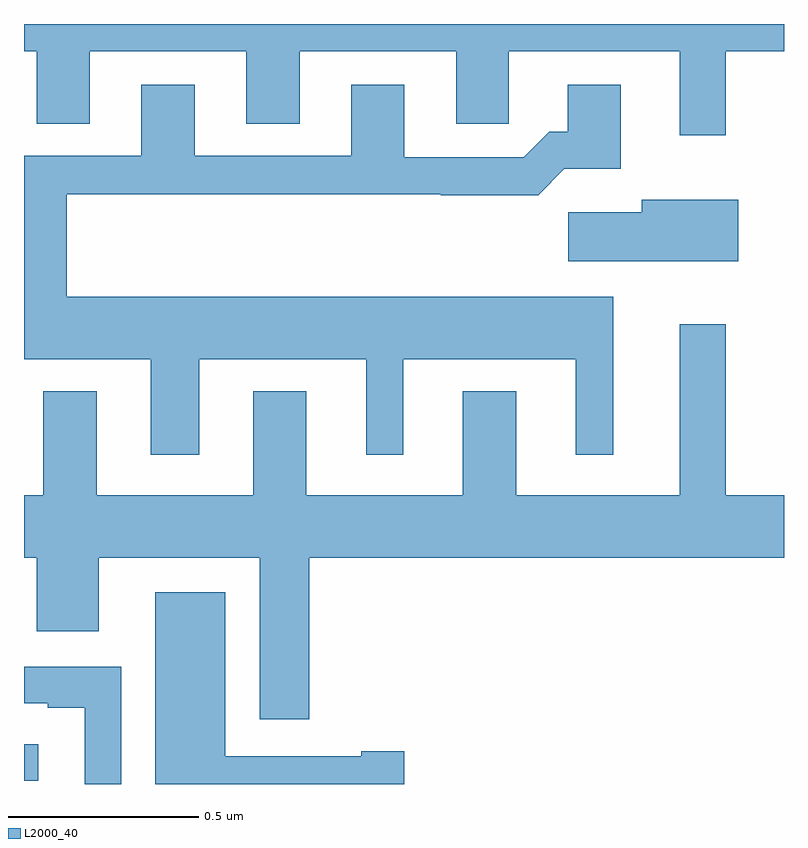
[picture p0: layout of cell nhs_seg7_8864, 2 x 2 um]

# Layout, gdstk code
import gdstk
lib = gdstk.Library(unit=1e-6, precision=1e-09)
def R(c, l, rs):  # rectangles x0, y0, x1, y1
    for r in rs: c.add(gdstk.rectangle(r[:2], r[2:], *l))
def P(c, l, *ps):  # polygons
    for p in ps: c.add(gdstk.Polygon(p, *l))
L2000_40 = (2000, 40)

nhs_seg7_8864 = lib.new_cell('nhs_seg7_8864')
R(nhs_seg7_8864, L2000_40, [(230,1020.008,230.038,1020.105)])
P(nhs_seg7_8864, L2000_40, [(231.847,1021.928),(232,1021.928),(232,1022),(230,1022),(230,1021.928),(230.033,1021.928),(230.033,1021.738),(230.173,1021.738),(230.173,1021.928),(230.585,1021.928),(230.585,1021.738),(230.725,1021.738),(230.725,1021.928),(231.137,1021.928),(231.137,1021.738),(231.276,1021.738),(231.276,1021.928),(231.725,1021.928),(231.725,1021.707),(231.847,1021.707)],
  [(230.461,1021.118),(230.9,1021.118),(230.9,1020.867),(230.998,1020.867),(230.998,1021.118),(231.452,1021.118),(231.452,1020.867),(231.55,1020.867),(231.55,1021.282),(230.113,1021.282),(230.113,1021.552),(231.097,1021.552),(231.097,1021.55),(231.353,1021.55),(231.422,1021.619),(231.571,1021.619),(231.571,1021.84),(231.431,1021.84),(231.431,1021.717),(231.382,1021.717),(231.315,1021.65),(231.001,1021.65),(231.001,1021.84),(230.861,1021.84),(230.861,1021.653),(230.449,1021.653),(230.449,1021.84),(230.309,1021.84),(230.309,1021.653),(230,1021.653),(230,1021.118),(230.333,1021.118),(230.333,1020.867),(230.461,1020.867)],
  [(231.88,1021.537),(231.626,1021.537),(231.626,1021.505),(231.432,1021.505),(231.432,1021.376),(231.88,1021.376)],
  [(231.725,1021.21),(231.725,1020.76),(231.295,1020.76),(231.295,1021.033),(231.155,1021.033),(231.155,1020.76),(230.743,1020.76),(230.743,1021.033),(230.603,1021.033),(230.603,1020.76),(230.191,1020.76),(230.191,1021.033),(230.051,1021.033),(230.051,1020.76),(230,1020.76),(230,1020.596),(230.033,1020.596),(230.033,1020.402),(230.197,1020.402),(230.197,1020.596),(230.621,1020.596),(230.621,1020.171),(230.75,1020.171),(230.75,1020.596),(232,1020.596),(232,1020.76),(231.847,1020.76),(231.847,1021.21)],
  [(231.001,1020.086),(230.888,1020.086),(230.888,1020.073),(230.53,1020.073),(230.53,1020.505),(230.345,1020.505),(230.345,1020),(231.001,1020)],
  [(230.256,1020.309),(230,1020.309),(230,1020.213),(230.063,1020.213),(230.063,1020.201),(230.16,1020.201),(230.16,1020),(230.256,1020)])

lib.write_gds('nhs_seg7_8864.gds')
